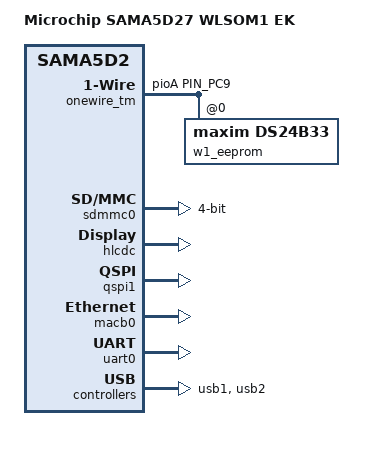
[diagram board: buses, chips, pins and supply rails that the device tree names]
// SPDX-License-Identifier: (GPL-2.0+ OR MIT)
/*
 * at91-sama5d27_wlsom1_ek.dts - Device Tree file for SAMA5D27 WLSOM1 EK
 *
 * Copyright (C) 2019 Microchip Technology Inc. and its subsidiaries
 *
 * Author: Nicolas Ferre <nicolas.ferre@microcihp.com>
 */
/dts-v1/;
#include <dt-bindings/gpio/gpio.h>
#include "sama5d27_wlsom1.dtsi"

/ {
	model = "Microchip SAMA5D27 WLSOM1 EK";
	compatible = "microchip,sama5d27-wlsom1-ek", "microchip,sama5d27-wlsom1", "atmel,sama5d2", "atmel,sama5";

	chosen {
		stdout-path = &uart0;
	};

	onewire_tm: onewire {
		gpios = <&pioA PIN_PC9 GPIO_ACTIVE_HIGH>;
		pinctrl-names = "default";
		pinctrl-0 = <&pinctrl_onewire_tm_default>;
		status = "okay";

		w1_eeprom: w1_eeprom@0 {
			compatible = "maxim,ds24b33";
			status = "okay";
		};
	};

	ahb {
		sdmmc0: sdio-host@a0000000 {
			bus-width = <4>;
			pinctrl-names = "default";
			pinctrl-0 = <&pinctrl_sdmmc0_default>;
			status = "okay";
		};

		apb {
			hlcdc: hlcdc@f0000000 {
				atmel,vl-bpix = <4>;
				atmel,output-mode = <24>;
				atmel,guard-time = <1>;
				pinctrl-names = "default";
				pinctrl-0 = <&pinctrl_lcd_base &pinctrl_lcd_pwm &pinctrl_lcd_rgb666>;
				status = "okay";

				display-timings {
					800x480 {
						clock-frequency = <33300000>;
						xres = <800>;
						yres = <480>;
						hactive = <800>;
						vactive = <480>;
						hsync-len = <64>;
						hfront-porch = <1>;
						hback-porch = <64>;
						vfront-porch = <1>;
						vback-porch = <22>;
						vsync-len = <23>;
					};
				};
			};

			qspi1: spi@f0024000 {
				status = "okay";
			};

			macb0: ethernet@f8008000 {
				status = "okay";
			};

			uart0: serial@f801c000 {
				pinctrl-names = "default";
				pinctrl-0 = <&pinctrl_uart0_default>;
				status = "okay";
			};

			pioA: pinctrl@fc038000 {
				pinctrl_lcd_base: pinctrl_lcd_base {
					pinmux = <PIN_PC30__LCDVSYNC>,
						 <PIN_PC31__LCDHSYNC>,
						 <PIN_PD1__LCDDEN>,
						 <PIN_PD0__LCDPCK>;
					bias-disable;
				};

				pinctrl_lcd_pwm: pinctrl_lcd_pwm {
					pinmux = <PIN_PC28__LCDPWM>;
					bias-disable;
				};

				pinctrl_lcd_rgb666: pinctrl_lcd_rgb666 {
					pinmux = <PIN_PC10__LCDDAT2>,
						 <PIN_PC11__LCDDAT3>,
						 <PIN_PC12__LCDDAT4>,
						 <PIN_PC13__LCDDAT5>,
						 <PIN_PC14__LCDDAT6>,
						 <PIN_PC15__LCDDAT7>,
						 <PIN_PC16__LCDDAT10>,
						 <PIN_PC17__LCDDAT11>,
						 <PIN_PC18__LCDDAT12>,
						 <PIN_PC19__LCDDAT13>,
						 <PIN_PC20__LCDDAT14>,
						 <PIN_PC21__LCDDAT15>,
						 <PIN_PC22__LCDDAT18>,
						 <PIN_PC23__LCDDAT19>,
						 <PIN_PC24__LCDDAT20>,
						 <PIN_PC25__LCDDAT21>,
						 <PIN_PC26__LCDDAT22>,
						 <PIN_PC27__LCDDAT23>;
					bias-disable;
				};

				pinctrl_sdmmc0_default: sdmmc0_default {
					cmd_data {
						pinmux = <PIN_PA1__SDMMC0_CMD>,
							 <PIN_PA2__SDMMC0_DAT0>,
							 <PIN_PA3__SDMMC0_DAT1>,
							 <PIN_PA4__SDMMC0_DAT2>,
							 <PIN_PA5__SDMMC0_DAT3>;
						bias-disable;
					};

					ck_cd_vddsel {
						pinmux = <PIN_PA0__SDMMC0_CK>,
							 <PIN_PA11__SDMMC0_VDDSEL>,
							 <PIN_PA12__SDMMC0_WP>,
							 <PIN_PA13__SDMMC0_CD>;
						bias-disable;
					};
				};

				pinctrl_uart0_default: uart0_default {
					pinmux = <PIN_PB26__URXD0>,
						 <PIN_PB27__UTXD0>;
					bias-disable;
				};

				pinctrl_onewire_tm_default: onewire_tm_default {
					pinmux = <PIN_PC9__GPIO>;
					bias-pull-up;
				};

				pinctrl_usb_default: usb_default {
					pinmux = <PIN_PA10__GPIO>;
					bias-disable;
				};

				pinctrl_usba_vbus: usba_vbus {
					pinmux = <PIN_PA16__GPIO>;
					bias-disable;
				};
			};
		};
	};
};

&usb1 {
	num-ports = <3>;
	atmel,vbus-gpio = <0
			   &pioA PIN_PA10 GPIO_ACTIVE_HIGH
			   0
			  >;
	pinctrl-names = "default";
	pinctrl-0 = <&pinctrl_usb_default>;
	status = "okay";
};

&usb2 {
	status = "okay";
};
